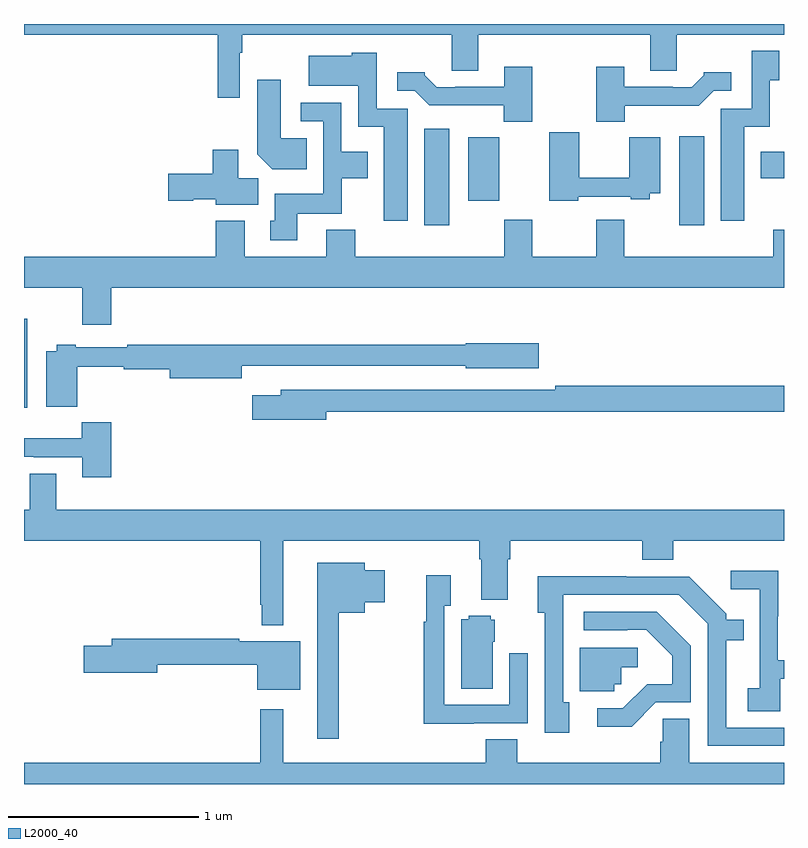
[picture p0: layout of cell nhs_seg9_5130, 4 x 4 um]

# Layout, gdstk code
import gdstk
lib = gdstk.Library(unit=1e-6, precision=1e-09)
def R(c, l, rs):  # rectangles x0, y0, x1, y1
    for r in rs: c.add(gdstk.rectangle(r[:2], r[2:], *l))
def P(c, l, *ps):  # polygons
    for p in ps: c.add(gdstk.Polygon(p, *l))
L2000_40 = (2000, 40)

nhs_seg9_5130 = lib.new_cell('nhs_seg9_5130')
R(nhs_seg9_5130, L2000_40, [(409,1170.48,409.018,1170.949), (411.107,1171.44,411.238,1171.948), (412.448,1171.44,412.579,1171.909), (412.877,1171.688,413,1171.828)])
P(nhs_seg9_5130, L2000_40, [(410.136,1172.348),(410.149,1172.348),(410.149,1172.444),(411.251,1172.444),(411.251,1172.254),(411.391,1172.254),(411.391,1172.444),(412.295,1172.444),(412.295,1172.254),(412.435,1172.254),(412.435,1172.444),(413,1172.444),(413,1172.5),(409,1172.5),(409,1172.444),(410.02,1172.444),(410.02,1172.112),(410.136,1172.112)],
  [(412.792,1171.958),(412.926,1171.958),(412.926,1172.203),(412.974,1172.203),(412.974,1172.359),(412.83,1172.359),(412.83,1172.055),(412.667,1172.055),(412.667,1171.464),(412.792,1171.464)],
  [(411.019,1172.055),(410.856,1172.055),(410.856,1172.35),(410.724,1172.35),(410.724,1172.332),(410.499,1172.332),(410.499,1172.174),(410.76,1172.174),(410.76,1171.958),(410.894,1171.958),(410.894,1171.464),(411.019,1171.464)],
  [(411.675,1172.275),(411.527,1172.275),(411.527,1172.169),(411.271,1172.169),(411.271,1172.166),(411.172,1172.166),(411.108,1172.23),(411.108,1172.245),(410.964,1172.245),(410.964,1172.148),(411.057,1172.148),(411.133,1172.072),(411.525,1172.072),(411.525,1171.985),(411.675,1171.985)],
  [(412.162,1172.07),(412.551,1172.07),(412.629,1172.148),(412.723,1172.148),(412.723,1172.245),(412.578,1172.245),(412.578,1172.23),(412.514,1172.166),(412.415,1172.166),(412.415,1172.169),(412.159,1172.169),(412.159,1172.275),(412.012,1172.275),(412.012,1171.985),(412.162,1171.985)],
  [(410.489,1171.9),(410.35,1171.9),(410.35,1172.206),(410.228,1172.206),(410.228,1171.814),(410.306,1171.736),(410.489,1171.736)],
  [(410.437,1171.502),(410.673,1171.502),(410.673,1171.688),(410.809,1171.688),(410.809,1171.828),(410.67,1171.828),(410.67,1172.085),(410.457,1172.085),(410.457,1171.989),(410.574,1171.989),(410.574,1171.606),(410.321,1171.606),(410.321,1171.464),(410.297,1171.464),(410.297,1171.362),(410.437,1171.362)],
  [(411.918,1171.59),(412.193,1171.59),(412.193,1171.578),(412.293,1171.578),(412.293,1171.61),(412.348,1171.61),(412.348,1171.903),(412.186,1171.903),(412.186,1171.691),(411.922,1171.691),(411.922,1171.93),(411.764,1171.93),(411.764,1171.57),(411.918,1171.57)],
  [(411.502,1171.796),(411.5,1171.796),(411.5,1171.903),(411.338,1171.903),(411.338,1171.569),(411.502,1171.569)],
  [(410.233,1171.688),(410.128,1171.688),(410.128,1171.837),(409.994,1171.837),(409.994,1171.712),(409.758,1171.712),(409.758,1171.57),(409.89,1171.57),(409.89,1171.577),(410.01,1171.577),(410.01,1171.55),(410.233,1171.55)],
  [(409.46,1171.112),(413,1171.112),(413,1171.417),(412.943,1171.417),(412.943,1171.276),(412.159,1171.276),(412.159,1171.471),(412.012,1171.471),(412.012,1171.276),(411.675,1171.276),(411.675,1171.471),(411.527,1171.471),(411.527,1171.276),(410.744,1171.276),(410.744,1171.417),(410.591,1171.417),(410.591,1171.276),(410.161,1171.276),(410.161,1171.465),(410.009,1171.465),(410.009,1171.276),(409,1171.276),(409,1171.112),(409.307,1171.112),(409.307,1170.918),(409.46,1170.918)],
  [(409.28,1170.697),(409.524,1170.697),(409.524,1170.682),(409.766,1170.682),(409.766,1170.635),(410.146,1170.635),(410.146,1170.702),(411.324,1170.702),(411.324,1170.689),(411.709,1170.689),(411.709,1170.819),(411.324,1170.819),(411.324,1170.811),(409.543,1170.811),(409.543,1170.798),(409.273,1170.798),(409.273,1170.811),(409.173,1170.811),(409.173,1170.778),(409.118,1170.778),(409.118,1170.485),(409.28,1170.485)],
  [(410.59,1170.46),(413,1170.46),(413,1170.596),(411.796,1170.596),(411.796,1170.576),(410.351,1170.576),(410.351,1170.547),(410.202,1170.547),(410.202,1170.418),(410.59,1170.418)],
  [(409.46,1170.403),(409.305,1170.403),(409.305,1170.319),(409,1170.319),(409,1170.222),(409.051,1170.222),(409.051,1170.219),(409.307,1170.219),(409.307,1170.114),(409.46,1170.114)],
  [(410.365,1169.78),(411.395,1169.78),(411.395,1169.684),(411.407,1169.684),(411.407,1169.471),(411.547,1169.471),(411.547,1169.684),(411.56,1169.684),(411.56,1169.78),(412.253,1169.78),(412.253,1169.681),(412.418,1169.681),(412.418,1169.78),(413,1169.78),(413,1169.944),(409.171,1169.944),(409.171,1170.134),(409.031,1170.134),(409.031,1169.944),(409,1169.944),(409,1169.78),(410.244,1169.78),(410.244,1169.443),(410.25,1169.443),(410.25,1169.336),(410.365,1169.336)],
  [(410.657,1169.402),(410.794,1169.402),(410.794,1169.456),(410.899,1169.456),(410.899,1169.626),(410.794,1169.626),(410.794,1169.665),(410.543,1169.665),(410.543,1168.737),(410.657,1168.737)],
  [(412.981,1169.053),(413,1169.053),(413,1169.151),(412.968,1169.151),(412.968,1169.384),(412.971,1169.384),(412.971,1169.623),(412.719,1169.623),(412.719,1169.525),(412.872,1169.525),(412.872,1169.004),(412.809,1169.004),(412.809,1168.882),(412.981,1168.882)],
  [(411.367,1168.821),(411.651,1168.821),(411.651,1169.188),(411.555,1169.188),(411.555,1168.917),(411.213,1168.917),(411.213,1169.438),(411.247,1169.438),(411.247,1169.599),(411.116,1169.599),(411.116,1169.354),(411.105,1169.354),(411.105,1168.817),(411.367,1168.817)],
  [(413,1168.797),(412.696,1168.797),(412.696,1169.256),(412.787,1169.256),(412.787,1169.365),(412.695,1169.365),(412.695,1169.397),(412.5,1169.592),(412.169,1169.592),(412.169,1169.594),(411.704,1169.594),(411.704,1169.402),(411.741,1169.402),(411.741,1168.77),(411.871,1168.77),(411.871,1168.93),(411.837,1168.93),(411.837,1169.496),(412.446,1169.496),(412.599,1169.343),(412.599,1168.701),(413,1168.701)],
  [(412.326,1168.929),(412.509,1168.929),(412.509,1169.227),(412.33,1169.406),(411.945,1169.406),(411.945,1169.31),(412.175,1169.31),(412.175,1169.313),(412.275,1169.313),(412.412,1169.176),(412.412,1169.026),(412.279,1169.026),(412.152,1168.899),(412.017,1168.899),(412.017,1168.802),(412.198,1168.802)],
  [(411.466,1169.25),(411.478,1169.25),(411.478,1169.364),(411.456,1169.364),(411.456,1169.386),(411.342,1169.386),(411.342,1169.368),(411.302,1169.368),(411.302,1169.002),(411.466,1169.002)],
  [(410.455,1169.251),(410.132,1169.251),(410.132,1169.264),(409.463,1169.264),(409.463,1169.228),(409.314,1169.228),(409.314,1169.086),(409.702,1169.086),(409.702,1169.128),(410.228,1169.128),(410.228,1168.997),(410.455,1168.997)],
  [(412.107,1169.025),(412.143,1169.025),(412.143,1169.114),(412.231,1169.114),(412.231,1169.217),(411.926,1169.217),(411.926,1168.989),(412.107,1168.989)],
  [(413,1168.612),(412.501,1168.612),(412.501,1168.844),(412.363,1168.844),(412.363,1168.722),(412.349,1168.722),(412.349,1168.612),(411.596,1168.612),(411.596,1168.736),(411.431,1168.736),(411.431,1168.612),(410.365,1168.612),(410.365,1168.894),(410.244,1168.894),(410.244,1168.612),(409,1168.612),(409,1168.5),(413,1168.5)])

lib.write_gds('nhs_seg9_5130.gds')
